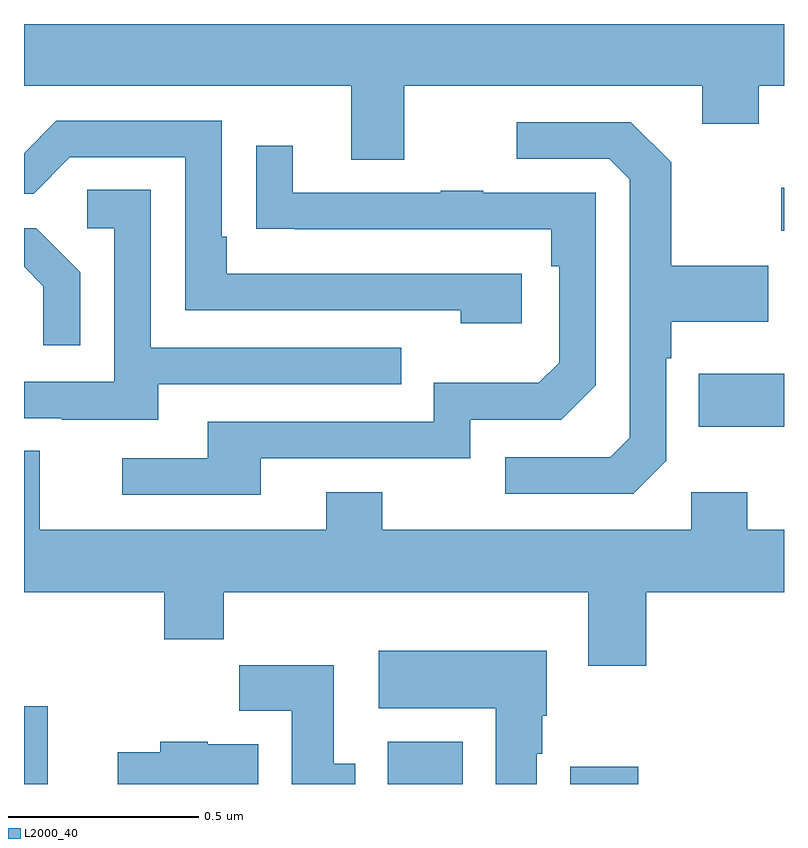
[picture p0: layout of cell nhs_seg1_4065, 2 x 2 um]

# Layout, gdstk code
import gdstk
lib = gdstk.Library(unit=1e-6, precision=1e-09)
def R(c, l, rs):  # rectangles x0, y0, x1, y1
    for r in rs: c.add(gdstk.rectangle(r[:2], r[2:], *l))
def P(c, l, *ps):  # polygons
    for p in ps: c.add(gdstk.Polygon(p, *l))
L2000_40 = (2000, 40)

nhs_seg1_4065 = lib.new_cell('nhs_seg1_4065')
R(nhs_seg1_4065, L2000_40, [(161,579.199,161.062,579.403), (161.957,579.199,162.154,579.31), (162.437,579.199,162.616,579.244), (162.775,580.139,163,580.279), (162.993,580.655,163,580.768)])
P(nhs_seg1_4065, L2000_40, [(162.001,581.036),(162.785,581.036),(162.785,580.937),(162.933,580.937),(162.933,581.036),(163,581.036),(163,581.199),(161,581.199),(161,581.036),(161.861,581.036),(161.861,580.842),(162.001,580.842)],
  [(162.31,580.542),(161.533,580.542),(161.533,580.639),(161.52,580.639),(161.52,580.944),(161.085,580.944),(161,580.859),(161,580.752),(161.025,580.752),(161.121,580.848),(161.424,580.848),(161.424,580.446),(162.149,580.446),(162.149,580.412),(162.31,580.412)],
  [(162.69,580.05),(162.69,580.319),(162.703,580.319),(162.703,580.415),(162.959,580.415),(162.959,580.563),(162.703,580.563),(162.703,580.835),(162.597,580.941),(162.297,580.941),(162.297,580.845),(162.54,580.845),(162.594,580.791),(162.594,580.11),(162.543,580.059),(162.267,580.059),(162.267,579.963),(162.603,579.963)],
  [(161.623,580.056),(162.174,580.056),(162.174,580.158),(162.414,580.158),(162.504,580.248),(162.504,580.755),(162.209,580.755),(162.209,580.76),(162.097,580.76),(162.097,580.755),(161.707,580.755),(161.707,580.879),(161.611,580.879),(161.611,580.66),(161.713,580.66),(161.713,580.659),(162.388,580.659),(162.388,580.562),(162.408,580.562),(162.408,580.308),(162.355,580.255),(162.078,580.255),(162.078,580.152),(161.483,580.152),(161.483,580.056),(161.259,580.056),(161.259,579.96),(161.623,579.96)],
  [(161.353,580.251),(161.993,580.251),(161.993,580.347),(161.334,580.347),(161.334,580.763),(161.166,580.763),(161.166,580.662),(161.238,580.662),(161.238,580.257),(161,580.257),(161,580.161),(161.099,580.161),(161.099,580.157),(161.353,580.157)],
  [(161.148,580.546),(161.032,580.662),(161,580.662),(161,580.56),(161.051,580.509),(161.051,580.353),(161.148,580.353)],
  [(162.638,579.704),(163,579.704),(163,579.868),(162.903,579.868),(162.903,579.967),(162.756,579.967),(162.756,579.868),(161.943,579.868),(161.943,579.967),(161.795,579.967),(161.795,579.868),(161.041,579.868),(161.041,580.076),(161,580.076),(161,579.704),(161.369,579.704),(161.369,579.58),(161.525,579.58),(161.525,579.704),(162.485,579.704),(162.485,579.51),(162.638,579.51)],
  [(162.349,579.278),(162.364,579.278),(162.364,579.378),(162.376,579.378),(162.376,579.55),(161.933,579.55),(161.933,579.398),(162.242,579.398),(162.242,579.199),(162.349,579.199)],
  [(161.872,579.252),(161.815,579.252),(161.815,579.511),(161.566,579.511),(161.566,579.392),(161.705,579.392),(161.705,579.199),(161.872,579.199)],
  [(161.617,579.304),(161.484,579.304),(161.484,579.31),(161.359,579.31),(161.359,579.282),(161.247,579.282),(161.247,579.199),(161.617,579.199)])

lib.write_gds('nhs_seg1_4065.gds')
